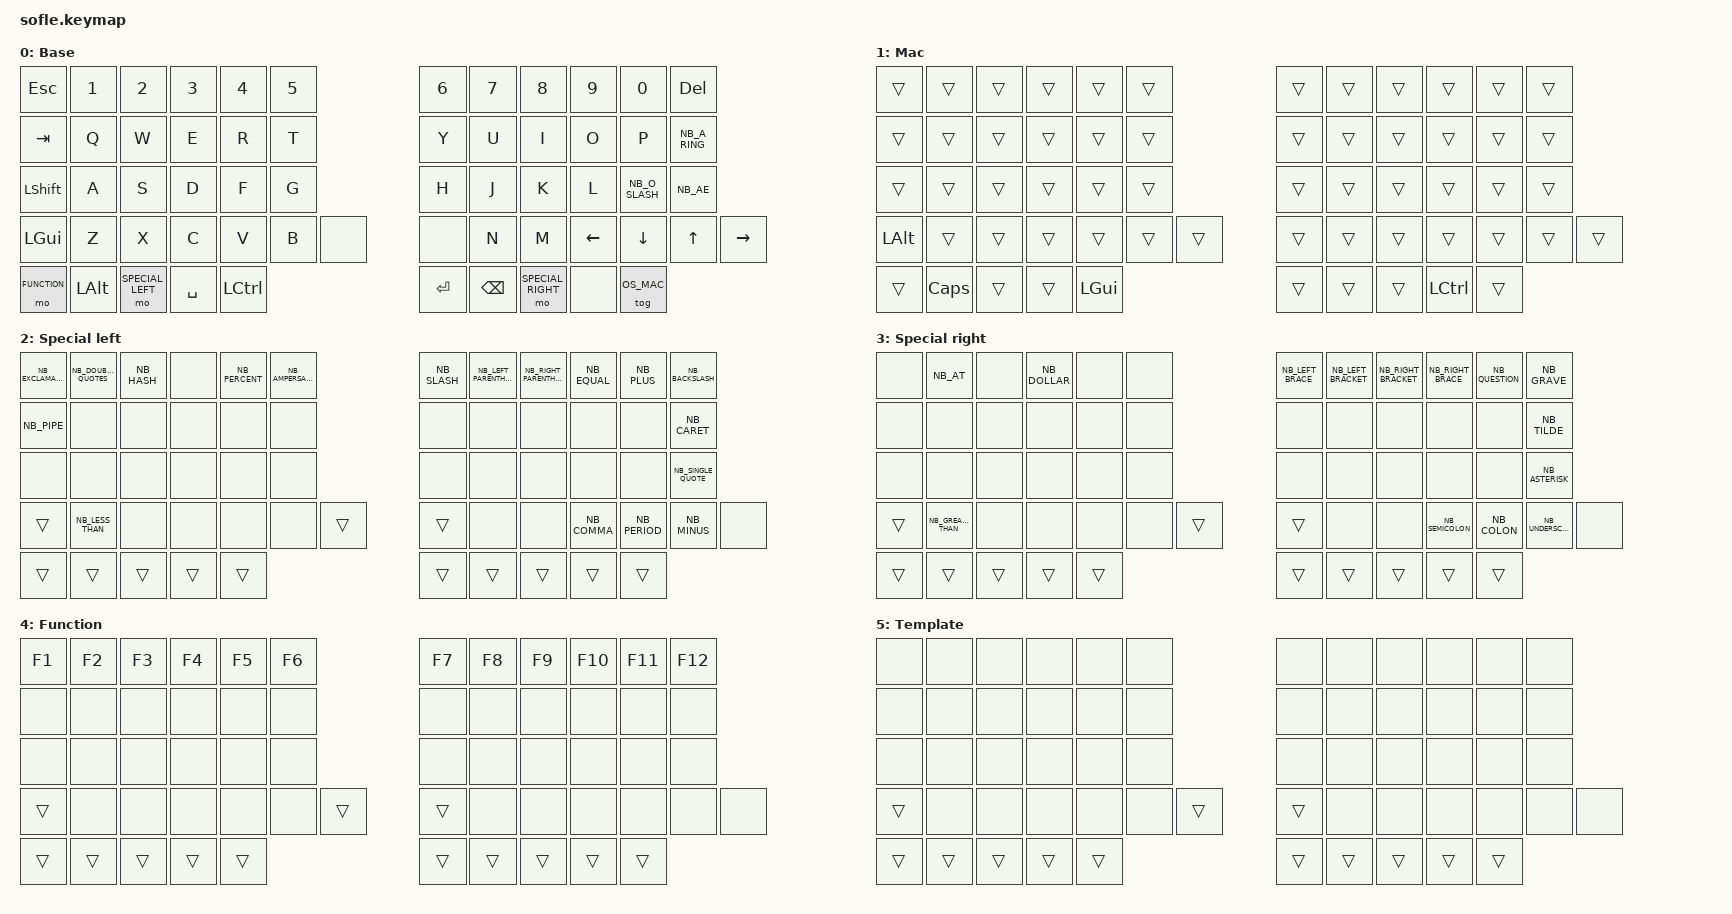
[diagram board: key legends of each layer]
/*
 * Copyright (c) 2020 The ZMK Contributors
 *
 * SPDX-License-Identifier: MIT
 */

#include <behaviors.dtsi>
#include <dt-bindings/zmk/keys.h>
#include <dt-bindings/zmk/bt.h>
#include <dt-bindings/zmk/rgb.h>
#include <dt-bindings/zmk/ext_power.h>

// Locales for norwegian layout
#include <locale/keys_nb.h>

#define BASE            0
#define OS_MAC          1
#define SPECIAL_LEFT    2
#define SPECIAL_RIGHT   3
#define FUNCTION        4

/ {
    keymap {
        compatible = "zmk,keymap";

        default_layer {
            display-name = "Base";

            bindings = <
            &kp ESC  &kp N1  &kp N2  &kp N3  &kp N4  &kp N5                     &kp N6  &kp N7  &kp N8  &kp N9  &kp N0  &kp DELETE
            &kp TAB  &kp Q  &kp W  &kp E  &kp R  &kp T                          &kp Y  &kp U  &kp I  &kp O  &kp P  &kp NB_A_RING
            &kp LSHFT  &kp A  &kp S  &kp D  &kp F  &kp G                        &kp H  &kp J  &kp K  &kp L  &kp NB_O_SLASH  &kp NB_AE
            &kp LGUI  &kp Z  &kp X  &kp C  &kp V  &kp B  &none                  &none  &kp N  &kp M  &kp LEFT &kp DOWN  &kp UP &kp RIGHT

            &mo FUNCTION  &kp LALT  &mo SPECIAL_LEFT  &kp SPACE  &kp LCTRL      &kp ENTER  &kp BACKSPACE  &mo SPECIAL_RIGHT  &none  &tog OS_MAC
            >;
        };

        os_mac {
            display-name = "Mac";

            bindings = <
            &trans &trans &trans &trans &trans &trans                 &trans &trans &trans &trans &trans &trans
            &trans &trans &trans &trans &trans &trans                 &trans &trans &trans &trans &trans &trans
            &trans &trans &trans &trans &trans &trans                 &trans &trans &trans &trans &trans &trans
            &kp LALT &trans &trans &trans &trans &trans &trans        &trans &trans &trans &trans &trans &trans &trans

            &trans &kp CAPSLOCK &trans &trans &kp LGUI                &trans &trans &trans &kp LCTRL &trans
            >;
        };

        special_left {
            display-name = "Special left";

            bindings = <
            &kp NB_EXCLAMATION  &kp NB_DOUBLE_QUOTES  &kp NB_HASH  &none  &kp NB_PERCENT  &kp NB_AMPERSAND      &kp NB_SLASH  &kp NB_LEFT_PARENTHESIS  &kp NB_RIGHT_PARENTHESIS  &kp NB_EQUAL  &kp NB_PLUS  &kp NB_BACKSLASH

            &kp NB_PIPE  &none  &none  &none  &none  &none                                                      &none  &none  &none  &none  &none  &kp NB_CARET

            &none  &none  &none  &none  &none  &none                                                            &none  &none  &none  &none  &none  &kp NB_SINGLE_QUOTE

            &trans &kp NB_LESS_THAN  &none  &none  &none  &none  &trans                                         &trans  &none  &none &kp NB_COMMA  &kp NB_PERIOD  &kp NB_MINUS  &none

            
            &trans  &trans  &trans  &trans  &trans                                                              &trans  &trans  &trans  &trans  &trans
            >;
        };

        special_right {
            display-name = "Special right";

            bindings = <
            &none  &kp NB_AT  &none  &kp NB_DOLLAR  &none  &none                &kp NB_LEFT_BRACE  &kp NB_LEFT_BRACKET  &kp NB_RIGHT_BRACKET  &kp NB_RIGHT_BRACE  &kp NB_QUESTION  &kp NB_GRAVE

            &none  &none  &none  &none  &none  &none                            &none  &none  &none  &none  &none  &kp NB_TILDE

            &none  &none  &none  &none  &none  &none                            &none  &none  &none  &none  &none  &kp NB_ASTERISK

            &trans  &kp NB_GREATER_THAN  &none  &none  &none  &none  &trans     &trans  &none  &none  &kp NB_SEMICOLON  &kp NB_COLON  &kp NB_UNDERSCORE  &none  
            

            &trans  &trans  &trans  &trans  &trans                              &trans  &trans  &trans  &trans  &trans
            >;
        };

        function {
            display-name = "Function";

            bindings = <
            &kp F1  &kp F2  &kp F3  &kp F4  &kp F5                  &kp F6  &kp F7  &kp F8  &kp F9  &kp F10  &kp F11  &kp F12

            &none  &none  &none  &none  &none  &none                &none  &none  &none  &none  &none  &none

            &none  &none  &none  &none  &none  &none                &none  &none  &none  &none  &none  &none

            &trans  &none  &none  &none  &none  &none  &trans       &trans &none  &none  &none  &none  &none  &none  
            

            &trans  &trans  &trans  &trans  &trans                  &trans  &trans  &trans  &trans  &trans 
            >;
        };

        template {
            display-name = "Template";

            bindings = <
            &none  &none  &none  &none  &none  &none                &none  &none  &none  &none  &none  &none

            &none  &none  &none  &none  &none  &none                &none  &none  &none  &none  &none  &none

            &none  &none  &none  &none  &none  &none                &none  &none  &none  &none  &none  &none

            &trans  &none  &none  &none  &none  &none  &trans       &trans  &none  &none  &none  &none  &none  &none  
            

            &trans  &trans  &trans  &trans  &trans                  &trans  &trans  &trans  &trans  &trans 
            >;
        };
    };
};
